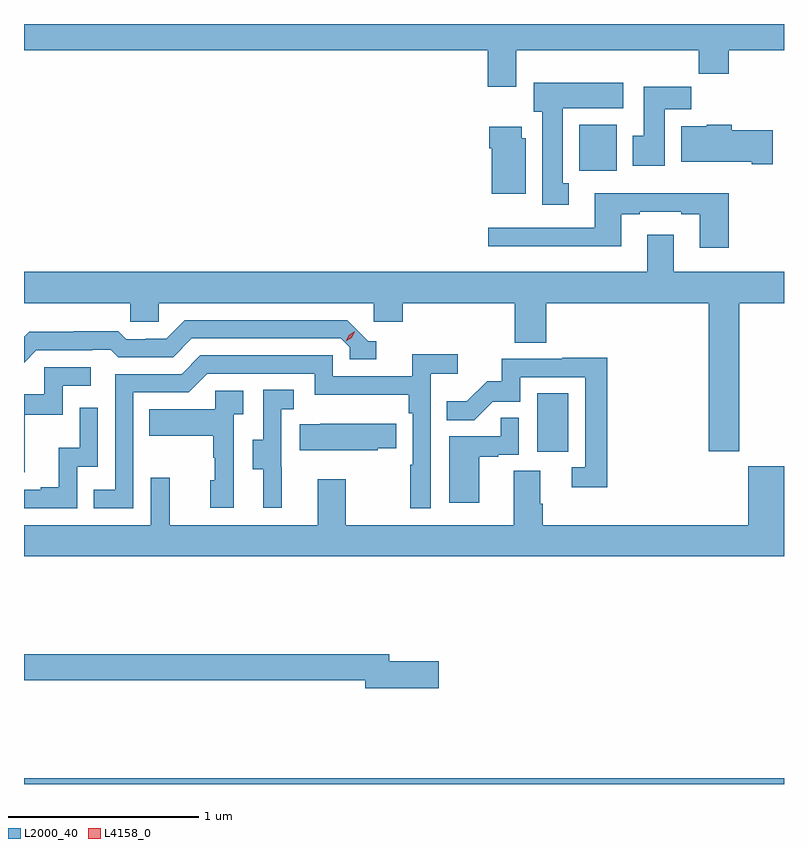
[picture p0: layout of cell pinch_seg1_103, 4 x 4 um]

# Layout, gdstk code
import gdstk
lib = gdstk.Library(unit=1e-6, precision=1e-09)
def R(c, l, rs):  # rectangles x0, y0, x1, y1
    for r in rs: c.add(gdstk.rectangle(r[:2], r[2:], *l))
def P(c, l, *ps):  # polygons
    for p in ps: c.add(gdstk.Polygon(p, *l))
L2000_40 = (2000, 40)
L4158_0 = (4158, 0)

pinch_seg1_103 = lib.new_cell('pinch_seg1_103')
R(pinch_seg1_103, L2000_40, [(1058.875,546.537,1062.875,546.568), (1061.576,548.286,1061.74,548.593), (1061.798,549.764,1061.995,550.006)])
P(pinch_seg1_103, L2000_40, [(1061.467,550.4),(1062.427,550.4),(1062.427,550.276),(1062.584,550.276),(1062.584,550.4),(1062.875,550.4),(1062.875,550.537),(1058.875,550.537),(1058.875,550.4),(1061.315,550.4),(1061.315,550.206),(1061.467,550.206)],
  [(1061.743,549.698),(1061.71,549.698),(1061.71,550.094),(1062.028,550.094),(1062.028,550.228),(1061.558,550.228),(1061.558,550.074),(1061.603,550.074),(1061.603,549.585),(1061.743,549.585)],
  [(1062.247,550.088),(1062.386,550.088),(1062.386,550.207),(1062.137,550.207),(1062.137,549.948),(1062.08,549.948),(1062.08,549.792),(1062.247,549.792)],
  [(1062.817,549.978),(1062.599,549.978),(1062.599,550.006),(1062.468,550.006),(1062.468,550),(1062.335,550),(1062.335,549.812),(1062.704,549.812),(1062.704,549.8),(1062.817,549.8)],
  [(1061.515,549.936),(1061.494,549.936),(1061.494,549.997),(1061.324,549.997),(1061.324,549.884),(1061.336,549.884),(1061.336,549.644),(1061.515,549.644)],
  [(1062.584,549.646),(1061.879,549.646),(1061.879,549.465),(1061.319,549.465),(1061.319,549.368),(1062.019,549.368),(1062.019,549.537),(1062.115,549.537),(1062.115,549.549),(1062.335,549.549),(1062.335,549.537),(1062.431,549.537),(1062.431,549.36),(1062.584,549.36)],
  [(1062.639,549.068),(1062.875,549.068),(1062.875,549.232),(1062.295,549.232),(1062.295,549.427),(1062.155,549.427),(1062.155,549.232),(1058.875,549.232),(1058.875,549.068),(1059.435,549.068),(1059.435,548.97),(1059.585,548.97),(1059.585,549.068),(1060.716,549.068),(1060.716,548.97),(1060.868,548.97),(1060.868,549.068),(1061.459,549.068),(1061.459,548.86),(1061.624,548.86),(1061.624,549.068),(1062.479,549.068),(1062.479,548.289),(1062.639,548.289)],
  [(1058.94,548.82),(1059.233,548.82),(1059.233,548.823),(1059.332,548.823),(1059.371,548.784),(1059.66,548.784),(1059.759,548.883),(1060.542,548.883),(1060.59,548.835),(1060.59,548.772),(1060.729,548.772),(1060.729,548.868),(1060.686,548.868),(1060.575,548.979),(1059.722,548.979),(1059.623,548.88),(1059.516,548.88),(1059.516,548.877),(1059.413,548.877),(1059.371,548.92),(1059.138,548.92),(1059.138,548.917),(1058.902,548.917),(1058.875,548.89),(1058.875,548.755)],
  [(1059.45,548.598),(1059.741,548.598),(1059.84,548.697),(1060.404,548.697),(1060.404,548.585),(1060.9,548.585),(1060.9,548.489),(1060.92,548.489),(1060.92,548.216),(1060.908,548.216),(1060.908,547.989),(1061.016,547.989),(1061.016,548.696),(1061.158,548.696),(1061.158,548.798),(1060.919,548.798),(1060.919,548.682),(1060.5,548.682),(1060.5,548.793),(1059.803,548.793),(1059.704,548.694),(1059.354,548.694),(1059.354,548.085),(1059.241,548.085),(1059.241,547.989),(1059.45,547.989)],
  [(1061.945,548.78),(1061.707,548.78),(1061.707,548.775),(1061.389,548.775),(1061.389,548.658),(1061.312,548.658),(1061.205,548.551),(1061.101,548.551),(1061.101,548.452),(1061.245,548.452),(1061.343,548.55),(1061.487,548.55),(1061.487,548.679),(1061.829,548.679),(1061.829,548.205),(1061.757,548.205),(1061.757,548.1),(1061.945,548.1)],
  [(1058.879,548.481),(1059.078,548.481),(1059.078,548.634),(1059.226,548.634),(1059.226,548.73),(1058.982,548.73),(1058.982,548.589),(1058.875,548.589),(1058.875,548.178),(1058.879,548.178)],
  [(1060.232,548.205),(1060.23,548.205),(1060.23,548.509),(1060.294,548.509),(1060.294,548.612),(1060.134,548.612),(1060.134,548.349),(1060.079,548.349),(1060.079,548.194),(1060.133,548.194),(1060.133,547.992),(1060.232,547.992)],
  [(1059.978,548.483),(1060.03,548.483),(1060.03,548.607),(1059.882,548.607),(1059.882,548.509),(1059.535,548.509),(1059.535,548.369),(1059.87,548.369),(1059.87,548.255),(1059.88,548.255),(1059.88,548.136),(1059.854,548.136),(1059.854,547.992),(1059.978,547.992)],
  [(1059.156,548.208),(1059.264,548.208),(1059.264,548.518),(1059.168,548.518),(1059.168,548.306),(1059.059,548.306),(1059.059,548.098),(1058.963,548.098),(1058.963,548.085),(1058.875,548.085),(1058.875,547.989),(1059.156,547.989)],
  [(1061.272,548.259),(1061.372,548.259),(1061.372,548.271),(1061.478,548.271),(1061.478,548.465),(1061.383,548.465),(1061.383,548.367),(1061.114,548.367),(1061.114,548.016),(1061.272,548.016)],
  [(1060.737,548.305),(1060.835,548.305),(1060.835,548.434),(1060.435,548.434),(1060.435,548.431),(1060.327,548.431),(1060.327,548.294),(1060.737,548.294)],
  [(1062.875,548.209),(1062.686,548.209),(1062.686,547.9),(1061.606,547.9),(1061.606,548.012),(1061.593,548.012),(1061.593,548.186),(1061.453,548.186),(1061.453,547.9),(1060.569,547.9),(1060.569,548.14),(1060.421,548.14),(1060.421,547.9),(1059.641,547.9),(1059.641,548.149),(1059.543,548.149),(1059.543,547.9),(1058.875,547.9),(1058.875,547.736),(1062.875,547.736)],
  [(1061.059,547.184),(1060.798,547.184),(1060.798,547.22),(1058.875,547.22),(1058.875,547.084),(1060.67,547.084),(1060.67,547.042),(1061.059,547.042)])
P(pinch_seg1_103, L4158_0, [(1060.568,548.867),(1060.568,548.868),(1060.584,548.9),(1060.615,548.919),(1060.615,548.919),(1060.615,548.919),(1060.599,548.886),(1060.568,548.867)])

lib.write_gds('pinch_seg1_103.gds')
